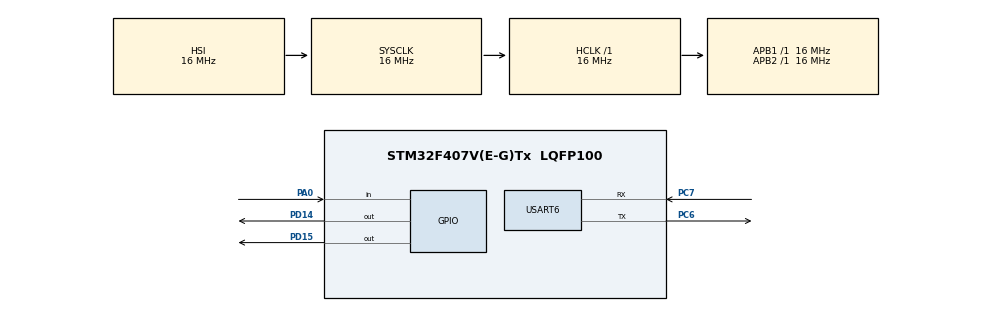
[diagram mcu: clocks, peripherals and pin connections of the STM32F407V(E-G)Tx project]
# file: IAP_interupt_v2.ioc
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Mcu.Family=STM32F4
Mcu.Name=STM32F407V(E-G)Tx
Mcu.Package=LQFP100
NVIC.FLASH_IRQn=true\:0\:0\:false\:false\:true\:true\:true
NVIC.PriorityGroup=NVIC_PRIORITYGROUP_4
NVIC.RCC_IRQn=true\:0\:0\:false\:false\:true\:true\:false
NVIC.USART6_IRQn=true\:1\:0\:true\:false\:true\:true\:true
PA0-WKUP.Signal=GPIO_Input
PC6.Mode=Asynchronous
PC6.Signal=USART6_TX
PC7.Mode=Asynchronous
PC7.Signal=USART6_RX
PD14.Signal=GPIO_Output
PD15.Signal=GPIO_Output
ProjectManager.HeapSize=0x200
ProjectManager.StackSize=0x400
ProjectManager.TargetToolchain=STM32CubeIDE
RCC.AHBFreq_Value=16000000
RCC.APB1Freq_Value=16000000
RCC.APB2Freq_Value=16000000
RCC.CortexFreq_Value=16000000
RCC.HSE_VALUE=25000000
RCC.HSI_VALUE=16000000
RCC.LSE_VALUE=32768
RCC.SYSCLKFreq_VALUE=16000000
RCC.VCOOutputFreq_Value=192000000
USART6.VirtualMode=VM_ASYNC
board=custom

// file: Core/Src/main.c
/* USER CODE BEGIN Header */
/**
  ******************************************************************************
  * @file           : main.c
  * @brief          : Main program body
  ******************************************************************************
  * @attention
  *
  * <h2><center>&copy; Copyright (c) 2020 STMicroelectronics.
  * All rights reserved.</center></h2>
  *
  * This software component is licensed by ST under BSD 3-Clause license,
  * the "License"; You may not use this file except in compliance with the
  * License. You may obtain a copy of the License at:
  *                        opensource.org/licenses/BSD-3-Clause
  *
  ******************************************************************************
  */
/* USER CODE END Header */

#include "main.h"

/* USER CODE BEGIN Includes */
#include "menu.h"
/* USER CODE END Includes */

/* USER CODE BEGIN PTD */
extern pFunction JumpToApplication;
extern uint32_t JumpAddress ;
/* USER CODE END PTD */

/* USER CODE BEGIN PD */
#define UartHandle huart6
/* USER CODE END PD */

UART_HandleTypeDef huart6;

/* USER CODE BEGIN PV */
uint8_t aRxBuffer[7];
uint8_t count;
_Bool flag ;
/* USER CODE END PV */

void SystemClock_Config(void);
static void MX_GPIO_Init(void);
static void MX_USART6_UART_Init(void);

int main(void)
{

  /* MCU Configuration--------------------------------------------------------*/

  /* Reset of all peripherals, Initializes the Flash interface and the Systick. */

  HAL_Init();

  /* USER CODE BEGIN Init */
  flag = 0;
  count=0;
  /* USER CODE END Init */

  /* Configure the system clock */
  SystemClock_Config();

  /* Initialize all configured peripherals */
  MX_GPIO_Init();
  MX_USART6_UART_Init();
  /* USER CODE BEGIN 2 */
  //HAL_UART_Receive_IT(&huart6, (uint8_t *)aRxBuffer, 7);

  if(HAL_UART_Transmit(&huart6, "RESTART\r\n", 9, 10)==HAL_OK)
  {
	  HAL_UART_Receive_IT(&huart6, (uint8_t *)aRxBuffer, 7);
  }

  /* USER CODE END 2 */

  /* Infinite loop */
  while (1)
  {

    /* USER CODE BEGIN 3 */
	  //HAL_GPIO_TogglePin(GPIOD,GPIO_PIN_14|GPIO_PIN_13);

	  if (flag ==1)
	  {
		  Main_Menu();
		  flag = 0;
	  }
	  HAL_Delay(1000);

	  if (flag==0)
	  {
		  uint32_t ramstart = (*(__IO uint32_t*) APPLICATION_ADDRESS) & 0x2FFE0000;
		  if ( ramstart == 0x20020000 || ramstart == 0x20000000)
		  {
			  JumpAddress = *(__IO uint32_t*) (APPLICATION_ADDRESS + 4);
			  JumpToApplication = (pFunction) JumpAddress;
			  __set_MSP(*(__IO uint32_t*) APPLICATION_ADDRESS);
			  HAL_Delay(500);
			  JumpToApplication();
		  }
	  }

  }
  /* USER CODE END 3 */
}

void SystemClock_Config(void)
{
  RCC_OscInitTypeDef RCC_OscInitStruct = {0};
  RCC_ClkInitTypeDef RCC_ClkInitStruct = {0};

  /** Configure the main internal regulator output voltage
  */
  __HAL_RCC_PWR_CLK_ENABLE();
  __HAL_PWR_VOLTAGESCALING_CONFIG(PWR_REGULATOR_VOLTAGE_SCALE1);
  /** Initializes the CPU, AHB and APB busses clocks
  */
  RCC_OscInitStruct.OscillatorType = RCC_OSCILLATORTYPE_HSI;
  RCC_OscInitStruct.HSIState = RCC_HSI_ON;
  RCC_OscInitStruct.HSICalibrationValue = RCC_HSICALIBRATION_DEFAULT;
  RCC_OscInitStruct.PLL.PLLState = RCC_PLL_NONE;
  if (HAL_RCC_OscConfig(&RCC_OscInitStruct) != HAL_OK)
  {
    Error_Handler();
  }
  /** Initializes the CPU, AHB and APB busses clocks
  */
  RCC_ClkInitStruct.ClockType = RCC_CLOCKTYPE_HCLK|RCC_CLOCKTYPE_SYSCLK
                              |RCC_CLOCKTYPE_PCLK1|RCC_CLOCKTYPE_PCLK2;
  RCC_ClkInitStruct.SYSCLKSource = RCC_SYSCLKSOURCE_HSI;
  RCC_ClkInitStruct.AHBCLKDivider = RCC_SYSCLK_DIV1;
  RCC_ClkInitStruct.APB1CLKDivider = RCC_HCLK_DIV1;
  RCC_ClkInitStruct.APB2CLKDivider = RCC_HCLK_DIV1;

  if (HAL_RCC_ClockConfig(&RCC_ClkInitStruct, FLASH_LATENCY_0) != HAL_OK)
  {
    Error_Handler();
  }
}

static void MX_USART6_UART_Init(void)
{

  huart6.Instance = USART6;
  huart6.Init.BaudRate = 115200;
  huart6.Init.WordLength = UART_WORDLENGTH_8B;
  huart6.Init.StopBits = UART_STOPBITS_1;
  huart6.Init.Parity = UART_PARITY_NONE;
  huart6.Init.Mode = UART_MODE_TX_RX;
  huart6.Init.HwFlowCtl = UART_HWCONTROL_NONE;
  huart6.Init.OverSampling = UART_OVERSAMPLING_16;
  if (HAL_UART_Init(&huart6) != HAL_OK)
  {
    Error_Handler();
  }

}

static void MX_GPIO_Init(void)
{
  GPIO_InitTypeDef GPIO_InitStruct = {0};

  /* GPIO Ports Clock Enable */
  __HAL_RCC_GPIOA_CLK_ENABLE();
  __HAL_RCC_GPIOD_CLK_ENABLE();
  __HAL_RCC_GPIOC_CLK_ENABLE();

  /*Configure GPIO pin Output Level */
  HAL_GPIO_WritePin(GPIOD, GPIO_PIN_14|GPIO_PIN_15, GPIO_PIN_RESET);

  /*Configure GPIO pin : PA0 */
  GPIO_InitStruct.Pin = GPIO_PIN_0;
  GPIO_InitStruct.Mode = GPIO_MODE_INPUT;
  GPIO_InitStruct.Pull = GPIO_NOPULL;
  HAL_GPIO_Init(GPIOA, &GPIO_InitStruct);

  /*Configure GPIO pins : PD14 PD15 */
  GPIO_InitStruct.Pin = GPIO_PIN_14|GPIO_PIN_15;
  GPIO_InitStruct.Mode = GPIO_MODE_OUTPUT_PP;
  GPIO_InitStruct.Pull = GPIO_NOPULL;
  GPIO_InitStruct.Speed = GPIO_SPEED_FREQ_LOW;
  HAL_GPIO_Init(GPIOD, &GPIO_InitStruct);

}

/* USER CODE BEGIN 4 */
void HAL_UART_RxCpltCallback(UART_HandleTypeDef *huart)
{
  /* Prevent unused argument(s) compilation warning */
  UNUSED(huart);
  HAL_GPIO_TogglePin(GPIOD,GPIO_PIN_15);
  if(aRxBuffer[0] == 'r' & aRxBuffer[6]=='t')
  {
	  HAL_UART_Transmit(&huart6, "IAP START", 9,0x2710);
	  flag=1;
  }

  /* NOTE : This function should not be modified, when the callback is needed,
            the HAL_UART_RxCpltCallback can be implemented in the user file
   */
/*
   ListBuffer[count++]= aRxBuffer;
   if(aRxBuffer==0x0A)
   {
 	  count=0;

   }

   	if(count>=24)
   	{
   		count=0;
   		memset( USARTBLE.RevData, 0, strlen(USARTBLE.RevData) ); //clear Receive data
   	}

   while(HAL_UART_Receive_IT(&huart6,&USARTBLE.Rbuffer,1)==HAL_OK);

*/

}

/* USER CODE END 4 */

void Error_Handler(void)
{
}

/************************ (C) COPYRIGHT STMicroelectronics *****END OF FILE****/
